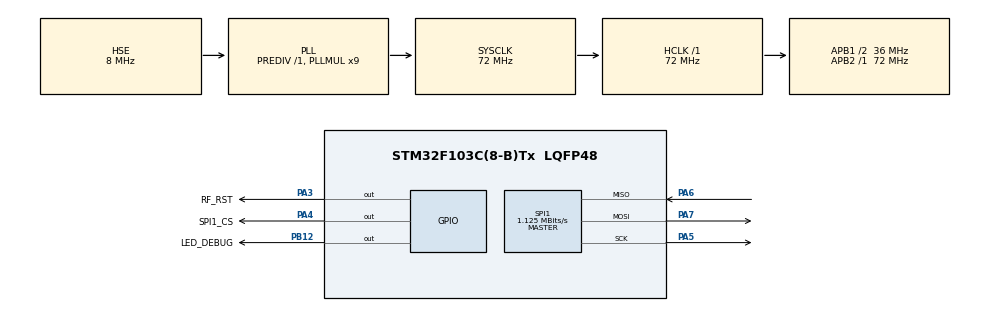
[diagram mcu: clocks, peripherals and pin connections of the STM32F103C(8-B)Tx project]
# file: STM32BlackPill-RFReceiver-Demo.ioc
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Mcu.Family=STM32F1
Mcu.Name=STM32F103C(8-B)Tx
Mcu.Package=LQFP48
NVIC.PriorityGroup=NVIC_PRIORITYGROUP_4
PA13.Mode=Serial_Wire
PA13.Signal=SYS_JTMS-SWDIO
PA14.Mode=Serial_Wire
PA14.Signal=SYS_JTCK-SWCLK
PA3.GPIO_Label=RF_RST
PA3.GPIO_PuPd=GPIO_PULLUP
PA3.GPIO_Speed=GPIO_SPEED_FREQ_HIGH
PA3.PinState=GPIO_PIN_SET
PA3.Signal=GPIO_Output
PA4.GPIO_Label=SPI1_CS
PA4.GPIO_PuPd=GPIO_PULLUP
PA4.GPIO_Speed=GPIO_SPEED_FREQ_HIGH
PA4.PinState=GPIO_PIN_SET
PA4.Signal=GPIO_Output
PA5.Mode=Full_Duplex_Master
PA5.Signal=SPI1_SCK
PA6.Mode=Full_Duplex_Master
PA6.Signal=SPI1_MISO
PA7.Mode=Full_Duplex_Master
PA7.Signal=SPI1_MOSI
PB12.GPIO_Label=LED_DEBUG
PB12.GPIO_PuPd=GPIO_PULLUP
PB12.GPIO_Speed=GPIO_SPEED_FREQ_HIGH
PB12.PinState=GPIO_PIN_SET
PB12.Signal=GPIO_Output
PD0-OSC_IN.Mode=HSE-External-Oscillator
PD0-OSC_IN.Signal=RCC_OSC_IN
PD1-OSC_OUT.Mode=HSE-External-Oscillator
PD1-OSC_OUT.Signal=RCC_OSC_OUT
ProjectManager.HeapSize=0x400
ProjectManager.StackSize=0x400
ProjectManager.TargetToolchain=STM32CubeIDE
RCC.AHBFreq_Value=72000000
RCC.APB1CLKDivider=RCC_HCLK_DIV2
RCC.APB1Freq_Value=36000000
RCC.APB1TimFreq_Value=72000000
RCC.APB2Freq_Value=72000000
RCC.APB2TimFreq_Value=72000000
RCC.HCLKFreq_Value=72000000
RCC.PLLMUL=RCC_PLL_MUL9
RCC.PLLSourceVirtual=RCC_PLLSOURCE_HSE
RCC.SYSCLKFreq_VALUE=72000000
RCC.SYSCLKSource=RCC_SYSCLKSOURCE_PLLCLK
RCC.USBFreq_Value=72000000
SPI1.BaudRatePrescaler=SPI_BAUDRATEPRESCALER_64
SPI1.CLKPhase=SPI_PHASE_2EDGE
SPI1.CLKPolarity=SPI_POLARITY_LOW
SPI1.CalculateBaudRate=1.125 MBits/s
SPI1.Direction=SPI_DIRECTION_2LINES
SPI1.Mode=SPI_MODE_MASTER
SPI1.VirtualType=VM_MASTER
board=custom

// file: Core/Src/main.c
/* USER CODE BEGIN Header */
/**
 ******************************************************************************
 * @file           : main.c
 * @brief          : Main program body
 ******************************************************************************
 * @attention
 *
 * <h2><center>&copy; Copyright (c) 2019 STMicroelectronics.
 * All rights reserved.</center></h2>
 *
 * This software component is licensed by ST under BSD 3-Clause license,
 * the "License"; You may not use this file except in compliance with the
 * License. You may obtain a copy of the License at:
 *                        opensource.org/licenses/BSD-3-Clause
 *
 ******************************************************************************
 */
/* USER CODE END Header */

#include "main.h"

/* USER CODE BEGIN Includes */
#include <string.h>
#include <stdio.h>
/* USER CODE END Includes */

/* USER CODE BEGIN PD */
#define LT8900_RF_CHANNEL	0x04

const uint8_t INIT_REGS[][3] = {
		{ 0, 0x6f, 0xe0 },
		{ 1, 0x56, 0x81 },
		{ 2, 0x66, 0x17 },
		{ 4, 0x9c, 0xc9 },
		{ 5, 0x66, 0x37 },
		{ 7, 0x00, LT8900_RF_CHANNEL },
		{ 8, 0x6c, 0x90 }, //power (default 71af) UNDOCUMENTED
		{ 9, 0x19, 0x40 },
		{ 10, 0x7f, 0xfd },
		{ 11, 0x00, 0x08 },
		{ 12, 0x00, 0x00 },
		{ 13, 0x48, 0xbd },
		{ 22, 0x00, 0xff },
		{ 23, 0x80, 0x05 },
		{ 24, 0x00, 0x67 },
		{ 25, 0x16, 0x59 },
		{ 26, 0x19, 0xe0 },
		{ 27, 0x13, 0x00 },
		{ 28, 0x18, 0x00 },
		{ 32, 0x48, 0x00 }, //8920�??????62.5kbps下同步头只能�??????32�??????16bit},
		{ 33, 0x3f, 0xc7 },
		{ 34, 0x20, 0x00 },
		{ 35, 0x03, 0x00 },
		//重发次数4次},
		{ 36, 0x05, 0x0A },
		//Sync_word 设置1
		{ 37, 0x00, 0x00 },
		{ 38, 0x00, 0x00 },
		/*
		{ 37, 0x00, 0x03 }, //Sync_word 设置2
		{ 38, 0x00, 0x00 }, //Sync_word 设置3
		*/
		{ 39, 0x55, 0xAA },
		//Sync_word 设置4
		{ 40, 0x44, 0x02 },
		{ 41, 0xb8, 0x00 },
		//CRC is ON; scramble is OFF; AUTO_ACK is ON},
		{ 42, 0xfd, 0xb0 },
		//等待RX_ACK时间 176us},
		{ 43, 0x00, 0x0f },
		{ 44, 0x10, 0x00 },
		{ 45, 0x05, 0x52 },
		//62.5k},
		{ 50, 0x00, 0x00 },
		{ 52, 0x80, 0x80 },
};

/* USER CODE END PD */

/* USER CODE BEGIN PM */
#define REG40_VALUE 0x4402
#define LT8900_FLAG_PKT 0B1000000
#define LT8900_FLAG_SYNCWORD_RECV 0x80

/* USER CODE END PM */

SPI_HandleTypeDef hspi1;

/* USER CODE BEGIN PV */
volatile uint32_t g_ledTurnOffTime = 0;
/* USER CODE END PV */

void SystemClock_Config(void);
static void MX_GPIO_Init(void);
static void MX_SPI1_Init(void);
/* USER CODE BEGIN PFP */
void LT8900_Init();
void LT8900_WriteHL(uint8_t reg, uint8_t high, uint8_t low);
uint16_t LT8900_ReadRegister(uint8_t reg);
int LT8900_Fifo_Read(void *data, uint8_t maxLength);
void LT8900_ToRecvMode();
void LT8900_ToIdleMode();
int LT8900_HasDataToRead();
void LED_Drive();
void LED_Blink();
/* USER CODE END PFP */

/* USER CODE BEGIN 0 */
void LT8900_Init() {

	// 复位射频芯片
	HAL_GPIO_WritePin(RF_RST_GPIO_Port, RF_RST_Pin, GPIO_PIN_RESET);
	HAL_Delay(100);
	HAL_GPIO_WritePin(RF_RST_GPIO_Port, RF_RST_Pin, GPIO_PIN_SET);
	HAL_Delay(200);

	HAL_GPIO_WritePin(SPI1_CS_GPIO_Port, SPI1_CS_Pin, GPIO_PIN_SET); // 拉高 SPI_CS

	// 执行初始化序�????????
	for (int i = 0; i < (sizeof(INIT_REGS) / 3); i++) {
		LT8900_WriteHL(INIT_REGS[i][0], INIT_REGS[i][1], INIT_REGS[i][2]);
	}

	HAL_Delay(100);
	uint16_t initCheckResult = LT8900_ReadRegister(40);
	if (initCheckResult != REG40_VALUE) {
		Error_Handler();
	}
}

void LT8900_WriteHL(uint8_t reg, uint8_t high, uint8_t low) {
	HAL_GPIO_WritePin(SPI1_CS_GPIO_Port, SPI1_CS_Pin, GPIO_PIN_RESET);
	uint8_t bytes[3] = { reg, high, low };
	if (HAL_SPI_Transmit(&hspi1, bytes, 3, HAL_MAX_DELAY) != HAL_OK) {
		Error_Handler();
	}
	HAL_GPIO_WritePin(SPI1_CS_GPIO_Port, SPI1_CS_Pin, GPIO_PIN_SET);
}

uint16_t LT8900_ReadRegister(uint8_t reg) {

	reg |= 0x80;
	HAL_GPIO_WritePin(SPI1_CS_GPIO_Port, SPI1_CS_Pin, GPIO_PIN_RESET);

	// 发送读取寄存器的命令
	if (HAL_SPI_Transmit(&hspi1, &reg, 1, HAL_MAX_DELAY) != HAL_OK) {
		Error_Handler();
	}

	uint16_t retval;
	// 接收寄存器值
	HAL_StatusTypeDef result = HAL_SPI_Receive(&hspi1, (uint8_t*) (&retval), 2,
			HAL_MAX_DELAY);

	if (result != HAL_OK) {
		Error_Handler();
	}

	HAL_GPIO_WritePin(SPI1_CS_GPIO_Port, SPI1_CS_Pin, GPIO_PIN_SET);

	// STM32 是 Little Endian，需要高低位转换
	retval = ((retval & 0x00FF) << 8) | ((retval & 0xFF00) >> 8);
	return retval;
}

int LT8900_Fifo_Read(void *data, uint8_t maxLength) {
	if (maxLength < 2) {
		Error_Handler();
	}

	uint16_t word = LT8900_ReadRegister(50);

	uint8_t packetSize = (uint8_t) ((word & 0xFF00) >> 8);
	if (packetSize == 0 || packetSize > maxLength) {
		return -1;
	}

	uint8_t *buf = (uint8_t*) data;

	buf[0] = (uint8_t) (word & 0x00FF);    //第一个字节已经读取过来了

	//读取剩下 payload 字节
	size_t leftSize = packetSize - 1;
	size_t safeSize = maxLength > leftSize ? maxLength : leftSize;
	for (uint8_t i = 1; i < safeSize; i += 2) {
		word = LT8900_ReadRegister(50);
		memcpy(buf + i, &word, sizeof(word));
	}

	LT8900_WriteHL(52, 0x00, 0x80); // 清空 FIFO 缓冲�???????????

	return packetSize;
}

void LT8900_ToRecvMode() {
	LT8900_WriteHL(7, 0x00, 0x00);
	LT8900_WriteHL(52, 0x80, 0x80);
	LT8900_WriteHL(7, 0x00, 0x80 + LT8900_RF_CHANNEL);
}

void LT8900_ToIdleMode() {
	LT8900_WriteHL(7, 0x00, 0x00);
}

int LT8900_HasDataToRead() {
	uint16_t reg48 = LT8900_ReadRegister(48);
	return (reg48 & LT8900_FLAG_PKT);
}

void LED_Drive() {
	uint32_t now = HAL_GetTick();
	if (now >= g_ledTurnOffTime) {
		HAL_GPIO_WritePin(LED_DEBUG_GPIO_Port, LED_DEBUG_Pin, GPIO_PIN_SET);
		g_ledTurnOffTime = 0;
	} else {
		HAL_GPIO_WritePin(LED_DEBUG_GPIO_Port, LED_DEBUG_Pin, GPIO_PIN_RESET);
	}
}

void LED_Blink() {
	g_ledTurnOffTime = HAL_GetTick() + 50;
}

/* USER CODE END 0 */

int main(void)
{

  /* MCU Configuration--------------------------------------------------------*/

  /* Reset of all peripherals, Initializes the Flash interface and the Systick. */
  HAL_Init();

  /* Configure the system clock */
  SystemClock_Config();

  /* Initialize all configured peripherals */
  MX_GPIO_Init();
  MX_SPI1_Init();
  /* USER CODE BEGIN 2 */
	LT8900_Init();

	uint8_t recvBuf[16];
	LT8900_ToIdleMode();
	LT8900_ToRecvMode(); // channel 4
  /* USER CODE END 2 */

  /* Infinite loop */
	while (1) {

    /* USER CODE BEGIN 3 */
		if (LT8900_HasDataToRead()) {
			LED_Blink();	// 让 LED 闪烁

			LT8900_Fifo_Read(recvBuf, 16); // 读取收到的数据
			// recvBuf 中就是射频芯片接收到的数据

			LT8900_ToIdleMode(); // 切换到 IDLE 模式

			LT8900_ToRecvMode(); // 切换到接收模式准备接收下次发送的数据

			HAL_Delay(5);
		}

		LED_Drive(); // 驱动 LED 闪烁计时器

	}
  /* USER CODE END 3 */
}

void SystemClock_Config(void)
{
  RCC_OscInitTypeDef RCC_OscInitStruct = {0};
  RCC_ClkInitTypeDef RCC_ClkInitStruct = {0};

  /** Initializes the CPU, AHB and APB busses clocks
  */
  RCC_OscInitStruct.OscillatorType = RCC_OSCILLATORTYPE_HSE;
  RCC_OscInitStruct.HSEState = RCC_HSE_ON;
  RCC_OscInitStruct.HSEPredivValue = RCC_HSE_PREDIV_DIV1;
  RCC_OscInitStruct.HSIState = RCC_HSI_ON;
  RCC_OscInitStruct.PLL.PLLState = RCC_PLL_ON;
  RCC_OscInitStruct.PLL.PLLSource = RCC_PLLSOURCE_HSE;
  RCC_OscInitStruct.PLL.PLLMUL = RCC_PLL_MUL9;
  if (HAL_RCC_OscConfig(&RCC_OscInitStruct) != HAL_OK)
  {
    Error_Handler();
  }
  /** Initializes the CPU, AHB and APB busses clocks
  */
  RCC_ClkInitStruct.ClockType = RCC_CLOCKTYPE_HCLK|RCC_CLOCKTYPE_SYSCLK
                              |RCC_CLOCKTYPE_PCLK1|RCC_CLOCKTYPE_PCLK2;
  RCC_ClkInitStruct.SYSCLKSource = RCC_SYSCLKSOURCE_PLLCLK;
  RCC_ClkInitStruct.AHBCLKDivider = RCC_SYSCLK_DIV1;
  RCC_ClkInitStruct.APB1CLKDivider = RCC_HCLK_DIV2;
  RCC_ClkInitStruct.APB2CLKDivider = RCC_HCLK_DIV1;

  if (HAL_RCC_ClockConfig(&RCC_ClkInitStruct, FLASH_LATENCY_2) != HAL_OK)
  {
    Error_Handler();
  }
}

static void MX_SPI1_Init(void)
{

  /* SPI1 parameter configuration*/
  hspi1.Instance = SPI1;
  hspi1.Init.Mode = SPI_MODE_MASTER;
  hspi1.Init.Direction = SPI_DIRECTION_2LINES;
  hspi1.Init.DataSize = SPI_DATASIZE_8BIT;
  hspi1.Init.CLKPolarity = SPI_POLARITY_LOW;
  hspi1.Init.CLKPhase = SPI_PHASE_2EDGE;
  hspi1.Init.NSS = SPI_NSS_SOFT;
  hspi1.Init.BaudRatePrescaler = SPI_BAUDRATEPRESCALER_64;
  hspi1.Init.FirstBit = SPI_FIRSTBIT_MSB;
  hspi1.Init.TIMode = SPI_TIMODE_DISABLE;
  hspi1.Init.CRCCalculation = SPI_CRCCALCULATION_DISABLE;
  hspi1.Init.CRCPolynomial = 10;
  if (HAL_SPI_Init(&hspi1) != HAL_OK)
  {
    Error_Handler();
  }

}

static void MX_GPIO_Init(void)
{
  GPIO_InitTypeDef GPIO_InitStruct = {0};

  /* GPIO Ports Clock Enable */
  __HAL_RCC_GPIOD_CLK_ENABLE();
  __HAL_RCC_GPIOA_CLK_ENABLE();
  __HAL_RCC_GPIOB_CLK_ENABLE();

  /*Configure GPIO pin Output Level */
  HAL_GPIO_WritePin(GPIOA, RF_RST_Pin|SPI1_CS_Pin, GPIO_PIN_SET);

  /*Configure GPIO pin Output Level */
  HAL_GPIO_WritePin(LED_DEBUG_GPIO_Port, LED_DEBUG_Pin, GPIO_PIN_SET);

  /*Configure GPIO pins : RF_RST_Pin SPI1_CS_Pin */
  GPIO_InitStruct.Pin = RF_RST_Pin|SPI1_CS_Pin;
  GPIO_InitStruct.Mode = GPIO_MODE_OUTPUT_PP;
  GPIO_InitStruct.Pull = GPIO_PULLUP;
  GPIO_InitStruct.Speed = GPIO_SPEED_FREQ_HIGH;
  HAL_GPIO_Init(GPIOA, &GPIO_InitStruct);

  /*Configure GPIO pin : LED_DEBUG_Pin */
  GPIO_InitStruct.Pin = LED_DEBUG_Pin;
  GPIO_InitStruct.Mode = GPIO_MODE_OUTPUT_PP;
  GPIO_InitStruct.Pull = GPIO_PULLUP;
  GPIO_InitStruct.Speed = GPIO_SPEED_FREQ_HIGH;
  HAL_GPIO_Init(LED_DEBUG_GPIO_Port, &GPIO_InitStruct);

}

void Error_Handler(void)
{
  /* USER CODE BEGIN Error_Handler_Debug */
	/* User can add his own implementation to report the HAL error return state */
	// LED 常亮指示出现错误
	HAL_GPIO_WritePin(LED_DEBUG_GPIO_Port, LED_DEBUG_Pin, GPIO_PIN_RESET);
	while (1) {

	}
  /* USER CODE END Error_Handler_Debug */
}

/************************ (C) COPYRIGHT STMicroelectronics *****END OF FILE****/
